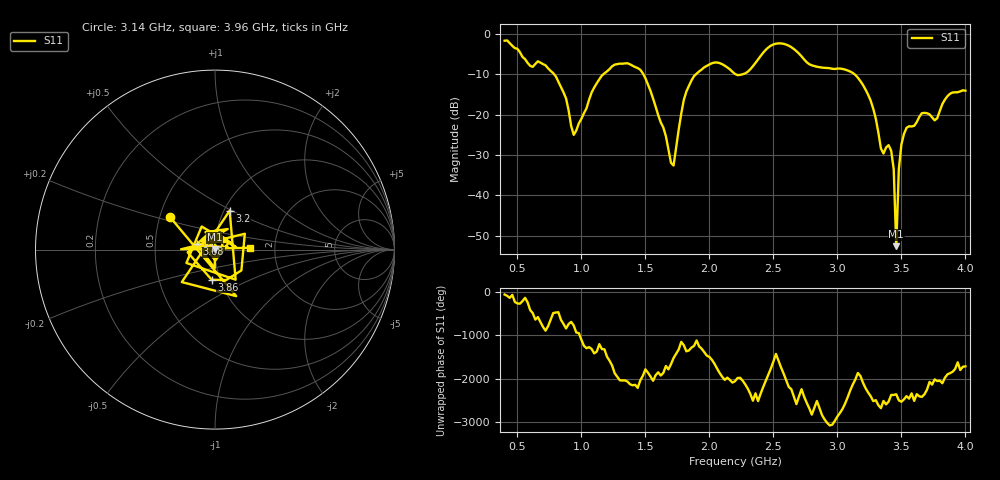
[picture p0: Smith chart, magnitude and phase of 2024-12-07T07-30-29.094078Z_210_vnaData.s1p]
!Created with skrf (http://scikit-rf.org).
# Hz S RI R 50.0
!freq ReS11 ImS11
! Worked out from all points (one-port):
!   181 points, 400 MHz to 4 GHz, reference 50 ohm
!   lowest |S11| = -52.5 dB at 3.46 GHz (marker M1), VSWR 1.00, Z = 49.8 + j0.0685 ohm
!   |S11| at or under -10 dB: 785.8 MHz to 1.173 GHz (387.3 MHz wide, 39.5 % of centre); 1.483 GHz to 1.896 GHz (412.9 MHz wide, 24.4 % of centre); 3.132 GHz to end of sweep (the widest 3 of 4)
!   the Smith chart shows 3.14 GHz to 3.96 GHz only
!   S11 on the Smith chart (normalised r, x): 3.14 GHz: 0.57, +0.23; 3.2 GHz: 1.06, +0.49; 3.68 GHz: 0.82, +0.05; 3.86 GHz: 0.91, -0.31; 3.96 GHz: 1.48, +0.03
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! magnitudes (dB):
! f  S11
! 400 MHz  -1.7
! 860 MHz  -14.5
! 940 MHz  -25.0
! 1.14 GHz  -11.3
! 1.3 GHz  -7.4
! 1.5 GHz  -11.0
! 1.7 GHz  -31.9
! 1.72 GHz  -32.6
! 1.76 GHz  -23.7
! 1.88 GHz  -10.5
! 2.2 GHz  -10.0
! 2.5 GHz  -2.7
! 2.66 GHz  -3.8
! 3.1 GHz  -9.4
! 3.14 GHz  -10.2
! 3.2 GHz  -12.7
! 3.34 GHz  -28.4
! 3.42 GHz  -28.9
! 3.44 GHz  -33.5
! 3.46 GHz  -52.5
! 3.48 GHz  -33.5
! 3.5 GHz  -27.4
! 3.56 GHz  -22.9
! 3.68 GHz  -19.6
! 3.76 GHz  -21.4
! 3.86 GHz  -15.5
! 3.96 GHz  -14.3
! 4 GHz  -14.1
